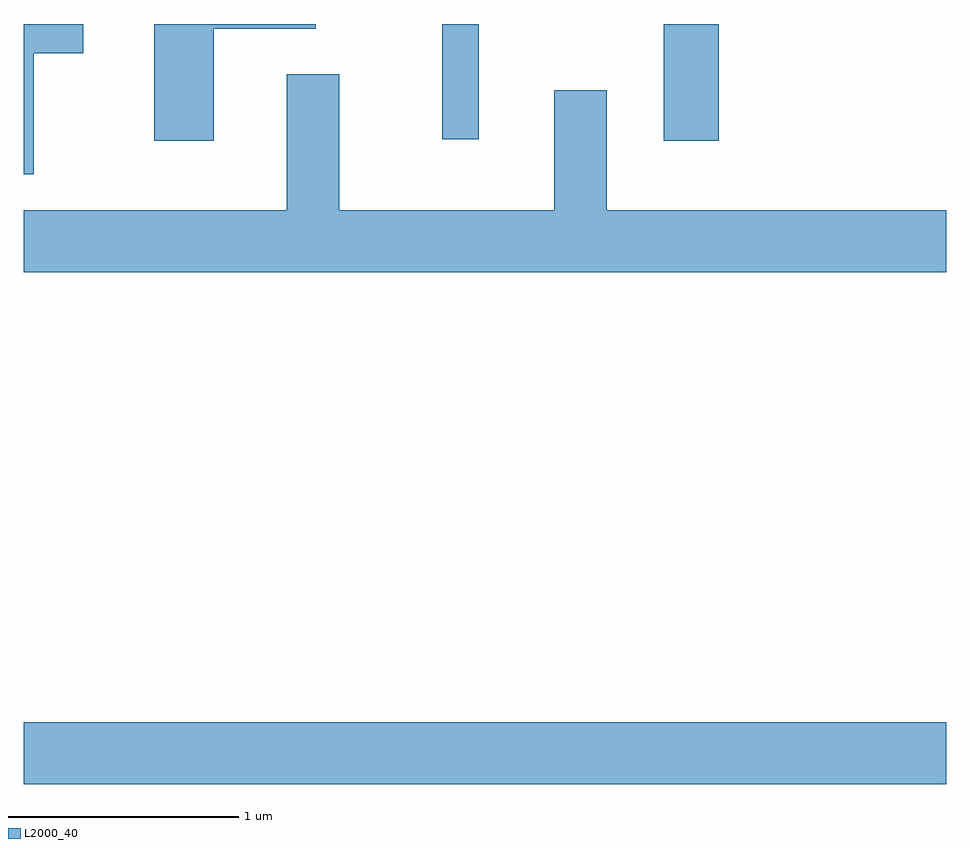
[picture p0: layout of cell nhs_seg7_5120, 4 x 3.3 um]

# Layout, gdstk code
import gdstk
lib = gdstk.Library(unit=1e-6, precision=1e-09)
def R(c, l, rs):  # rectangles x0, y0, x1, y1
    for r in rs: c.add(gdstk.rectangle(r[:2], r[2:], *l))
def P(c, l, *ps):  # polygons
    for p in ps: c.add(gdstk.Polygon(p, *l))
L2000_40 = (2000, 40)

nhs_seg7_5120 = lib.new_cell('nhs_seg7_5120')
R(nhs_seg7_5120, L2000_40, [(341.611,1740.956,345.611,1741.224), (344.386,1743.746,344.624,1744.252), (343.426,1743.753,343.584,1744.252)])
P(nhs_seg7_5120, L2000_40, [(341.654,1744.126),(341.869,1744.126),(341.869,1744.252),(341.611,1744.252),(341.611,1743.601),(341.654,1743.601)],
  [(342.434,1744.231),(342.878,1744.231),(342.878,1744.252),(342.176,1744.252),(342.176,1743.746),(342.434,1743.746)],
  [(345.611,1743.444),(344.139,1743.444),(344.139,1743.964),(343.911,1743.964),(343.911,1743.444),(342.979,1743.444),(342.979,1744.034),(342.751,1744.034),(342.751,1743.444),(341.611,1743.444),(341.611,1743.176),(345.611,1743.176)])

lib.write_gds('nhs_seg7_5120.gds')
